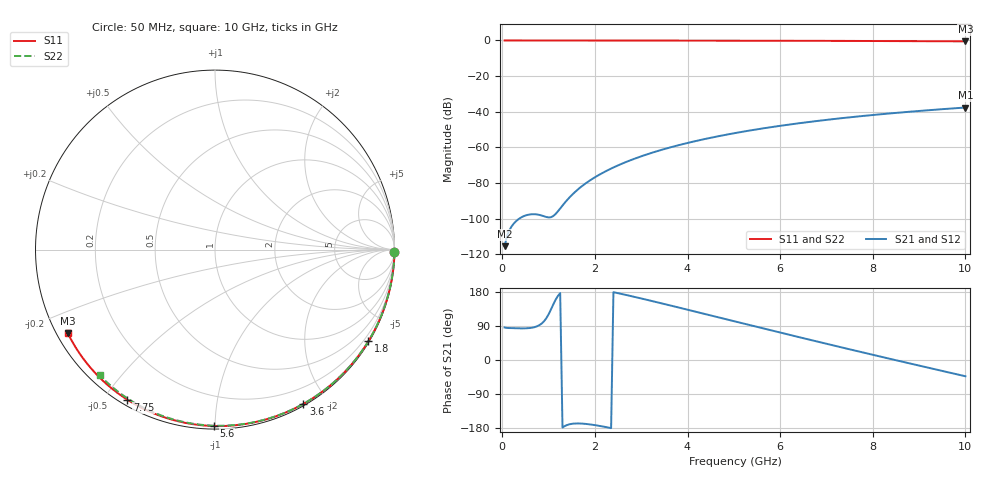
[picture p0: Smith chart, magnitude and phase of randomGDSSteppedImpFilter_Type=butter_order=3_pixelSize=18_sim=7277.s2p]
! freq	dB(S11)	phase(S11)	dB(S12)	phase(S12)
!  dB(S21)	phase(S21)	dB(S22)	phase(S22)
!S-par simulation data
#  GHz  S  DB  R 50
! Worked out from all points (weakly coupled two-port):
!   200 points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, 50 MHz to 10 GHz, reference 50 ohm
!   highest |S21| = -37.66 dB at 10 GHz (marker M1); lowest = -115.5 dB at 50 MHz (marker M2)
!   lowest |S11| = -0.5 dB at 10 GHz (marker M3), VSWR 34.09, Z = 1.57 - j13.2 ohm
!   |S11| at or under -10 dB: nowhere
!   |S22| runs from -0.4 to 0.0 dB; largest |S21 - S12| = 0
!   S11 on the Smith chart (normalised r, x): 50 MHz: open; 1.8 GHz: 0.03, -3.62; 3.6 GHz: 0.02, -1.72; 5.6 GHz: 0.02, -0.99; 7.75 GHz: 0.02, -0.57; 10 GHz: 0.03, -0.26
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0.05  -0.00 -0.9  -115.51 85.8  -115.51 85.8  -0.00 -0.8
0.45  -0.01 -7.8  -98.81 83.4  -98.81 83.4  -0.01 -6.9
0.9  -0.02 -15.6  -98.72 102.1  -98.72 102.1  -0.02 -13.7
1.3  -0.03 -22.4  -92.68 -178.1  -92.68 -178.1  -0.02 -19.7
1.75  -0.04 -30.1  -81.21 -168.1  -81.21 -168.1  -0.03 -26.4
1.8  -0.04 -30.9  -80.25 -168.6  -80.25 -168.6  -0.03 -27.2
2.15  -0.05 -36.7  -74.59 -175.0  -74.59 -175.0  -0.04 -32.3
2.5  -0.05 -42.5  -70.13 176.3  -70.13 176.3  -0.05 -37.4
2.9  -0.06 -49.0  -65.98 165.3  -65.98 165.3  -0.06 -43.2
3.4  -0.08 -57.1  -61.72 150.7  -61.72 150.7  -0.07 -50.3
3.6  -0.08 -60.2  -60.23 144.7  -60.23 144.7  -0.07 -53.1
3.9  -0.09 -64.9  -58.19 135.8  -58.19 135.8  -0.08 -57.3
4.3  -0.10 -71.1  -55.76 123.7  -55.76 123.7  -0.09 -62.8
5.05  -0.13 -82.3  -51.89 101.0  -51.89 101.0  -0.11 -72.8
5.6  -0.15 -90.4  -49.49 84.4  -49.49 84.4  -0.13 -80.0
6.15  -0.18 -98.2  -47.38 68.0  -47.38 68.0  -0.15 -87.0
6.7  -0.21 -105.9  -45.52 51.7  -45.52 51.7  -0.18 -93.9
7.2  -0.24 -112.8  -44.00 36.9  -44.00 36.9  -0.21 -100.0
7.75  -0.28 -120.3  -42.49 20.9  -42.49 20.9  -0.24 -106.6
8.35  -0.33 -128.3  -41.02 3.7  -41.02 3.7  -0.29 -113.6
9.2  -0.41 -139.7  -39.17 -20.4  -39.17 -20.4  -0.36 -123.5
10  -0.51 -150.5  -37.66 -42.9  -37.66 -42.9  -0.45 -132.6
